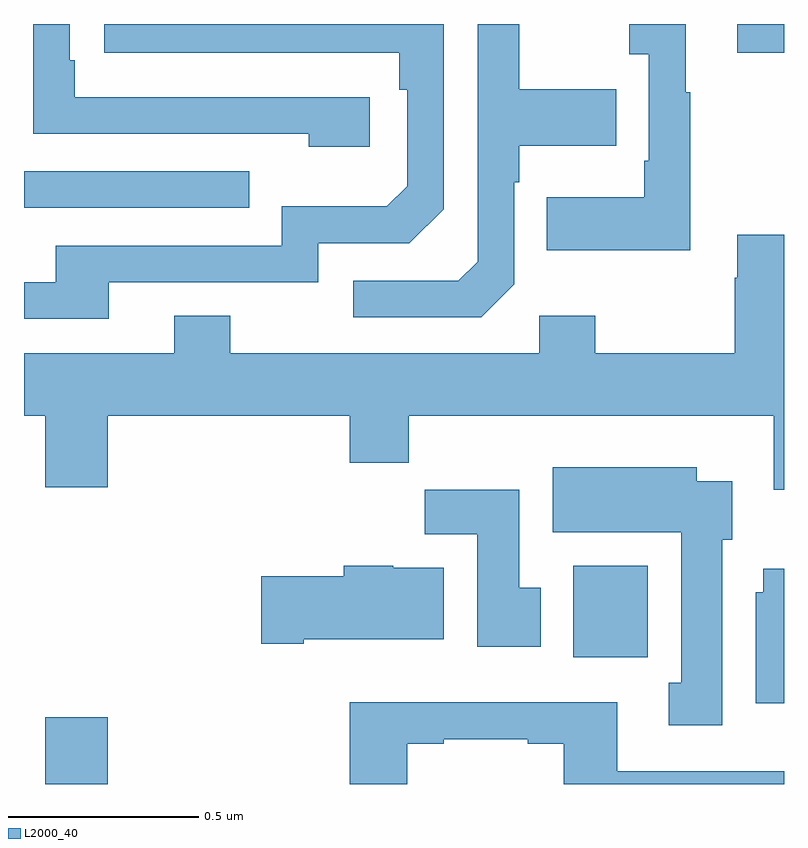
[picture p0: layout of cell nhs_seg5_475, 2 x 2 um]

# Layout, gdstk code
import gdstk
lib = gdstk.Library(unit=1e-6, precision=1e-09)
def R(c, l, rs):  # rectangles x0, y0, x1, y1
    for r in rs: c.add(gdstk.rectangle(r[:2], r[2:], *l))
def P(c, l, *ps):  # polygons
    for p in ps: c.add(gdstk.Polygon(p, *l))
L2000_40 = (2000, 40)

nhs_seg5_475 = lib.new_cell('nhs_seg5_475')
R(nhs_seg5_475, L2000_40, [(117.056,847.799,117.22,847.975), (118.445,848.132,118.642,848.374), (117,849.315,117.593,849.411), (118.877,849.723,119,849.799)])
P(nhs_seg5_475, L2000_40, [(117.223,849.12),(117.774,849.12),(117.774,849.222),(118.014,849.222),(118.104,849.312),(118.104,849.799),(117.211,849.799),(117.211,849.724),(117.313,849.724),(117.313,849.723),(117.988,849.723),(117.988,849.626),(118.008,849.626),(118.008,849.372),(117.955,849.319),(117.678,849.319),(117.678,849.216),(117.083,849.216),(117.083,849.12),(117,849.12),(117,849.024),(117.223,849.024)],
  [(118.753,849.619),(118.741,849.619),(118.741,849.799),(118.593,849.799),(118.593,849.719),(118.644,849.719),(118.644,849.439),(118.632,849.439),(118.632,849.343),(118.375,849.343),(118.375,849.203),(118.753,849.203)],
  [(117.91,849.606),(117.133,849.606),(117.133,849.703),(117.12,849.703),(117.12,849.799),(117.024,849.799),(117.024,849.51),(117.749,849.51),(117.749,849.476),(117.91,849.476)],
  [(118.29,849.114),(118.29,849.383),(118.303,849.383),(118.303,849.479),(118.559,849.479),(118.559,849.627),(118.303,849.627),(118.303,849.799),(118.194,849.799),(118.194,849.174),(118.143,849.123),(117.867,849.123),(117.867,849.027),(118.203,849.027)],
  [(119,849.244),(118.877,849.244),(118.877,849.131),(118.87,849.131),(118.87,848.932),(118.503,848.932),(118.503,849.031),(118.356,849.031),(118.356,848.932),(117.543,848.932),(117.543,849.031),(117.395,849.031),(117.395,848.932),(117,848.932),(117,848.768),(117.056,848.768),(117.056,848.58),(117.22,848.58),(117.22,848.768),(117.857,848.768),(117.857,848.644),(118.013,848.644),(118.013,848.768),(118.973,848.768),(118.973,848.574),(119,848.574)],
  [(118.837,848.442),(118.864,848.442),(118.864,848.596),(118.771,848.596),(118.771,848.632),(118.391,848.632),(118.391,848.462),(118.73,848.462),(118.73,848.066),(118.697,848.066),(118.697,847.953),(118.837,847.953)],
  [(118.36,848.316),(118.303,848.316),(118.303,848.574),(118.054,848.574),(118.054,848.456),(118.193,848.456),(118.193,848.16),(118.36,848.16)],
  [(117.736,848.18),(118.105,848.18),(118.105,848.368),(117.972,848.368),(117.972,848.374),(117.842,848.374),(117.842,848.346),(117.624,848.346),(117.624,848.168),(117.736,848.168)],
  [(119,848.365),(118.946,848.365),(118.946,848.304),(118.925,848.304),(118.925,848.012),(119,848.012)],
  [(118.009,847.905),(118.105,847.905),(118.105,847.917),(118.325,847.917),(118.325,847.905),(118.421,847.905),(118.421,847.799),(119,847.799),(119,847.833),(118.561,847.833),(118.561,848.014),(117.857,848.014),(117.857,847.799),(118.009,847.799)])

lib.write_gds('nhs_seg5_475.gds')
